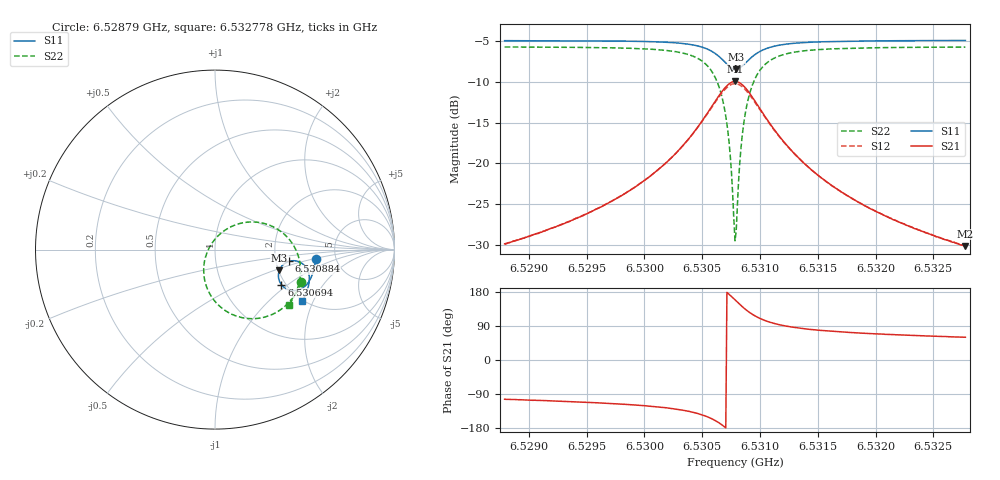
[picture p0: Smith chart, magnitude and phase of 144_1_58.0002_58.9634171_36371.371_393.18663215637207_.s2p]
#  HZ  S  RI  R  50.00
! Rohde & Schwarz Vector Network Analyzer
! Rohde-Schwarz,ZNB20-2Port,1311601062101988,3.16
! Created: UTC 3/21/2024, 12:56:44 AM
! freq[Hz]  re:S11  im:S11  re:S21  im:S21  re:S12  im:S12  re:S22  im:S22
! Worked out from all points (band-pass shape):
!   401 points, 6.52879 GHz to 6.532778 GHz, reference 50 ohm
!   highest |S21| = -9.98 dB at 6.530784 GHz (marker M1); lowest = -30.1 dB at 6.532778 GHz (marker M2)
!   |S21| within 3 dB of the highest: 6.530585 GHz to 6.530984 GHz (398.9 kHz wide, 0.00611 % of centre)
!   lowest |S11| = -8.5 dB at 6.530794 GHz (marker M3), VSWR 2.21, Z = 101 - j27 ohm
!   |S11| at or under -10 dB: nowhere
!   |S22| runs from -29.5 to -5.8 dB; largest |S21 - S12| = 0.013
!   S11 on the Smith chart (normalised r, x): 6.52879 GHz: 3.49, -0.54; 6.530694 GHz: 1.90, -0.90; 6.530884 GHz: 2.36, -0.37; 6.532778 GHz: 1.96, -1.66
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6.5287897e9  0.5607 -0.0524  -0.00753 -0.0314  -0.00813 -0.0311  0.4817 -0.183
6.5294577e9  0.5513 -0.1089  -0.0171 -0.0445  -0.0183 -0.0442  0.4492 -0.2459
6.5298067e9  0.5414 -0.142  -0.0286 -0.0571  -0.0301 -0.0565  0.4183 -0.287
6.5301258e9  0.524 -0.1774  -0.0519 -0.0765  -0.054 -0.0751  0.3647 -0.3352
6.5303551e9  0.4972 -0.2077  -0.0927 -0.0967  -0.0956 -0.0936  0.2816 -0.3746
6.5305246e9  0.4526 -0.2279  -0.1628 -0.1038  -0.1654 -0.097  0.1515 -0.3793
6.5306243e9  0.4064 -0.223  -0.2348 -0.0771  -0.234 -0.0668  0.0314 -0.3201
6.5306941e9  0.37 -0.1951  -0.2881 -0.017  -0.2819 -0.00633  -0.0465 -0.2085
6.530734e9  0.3562 -0.1665  -0.3048 0.0376  -0.2953 0.0463  -0.0631 -0.115
6.5307739e9  0.3543 -0.1318  -0.3003 0.1001  -0.2888 0.105  -0.0433 -0.0137
6.5307838e9  0.3562 -0.1232  -0.2954 0.1153  -0.2835 0.1192  -0.032 0.0106
6.5307938e9  0.359 -0.1146  -0.2888 0.1301  -0.277 0.133  -0.0185 0.0335
6.5308038e9  0.3627 -0.1065  -0.2808 0.1442  -0.2693 0.1458  -0.00288 0.0547
6.5308237e9  0.3724 -0.092  -0.2613 0.1691  -0.2502 0.169  0.0338 0.0919
6.5308436e9  0.3845 -0.0802  -0.2382 0.1892  -0.2284 0.1876  0.0755 0.1203
6.5308835e9  0.4121 -0.0655  -0.188 0.2134  -0.1807 0.2102  0.163 0.1507
6.5309533e9  0.4566 -0.0643  -0.1102 0.216  -0.1063 0.2128  0.2939 0.1395
6.531053e9  0.4959 -0.0859  -0.0429 0.1845  -0.0411 0.1827  0.4024 0.0698
6.5312026e9  0.5192 -0.1223  -0.00218 0.1366  -0.000773 0.136  0.4618 -0.0284
6.5314519e9  0.5258 -0.1661  0.0153 0.0893  0.0165 0.089  0.4766 -0.1283
6.5321199e9  0.5097 -0.2372  0.0179 0.0428  0.0187 0.0427  0.448 -0.2458
6.532778e9  0.4858 -0.2879  0.0156 0.0271  0.0162 0.0267  0.4137 -0.3061
